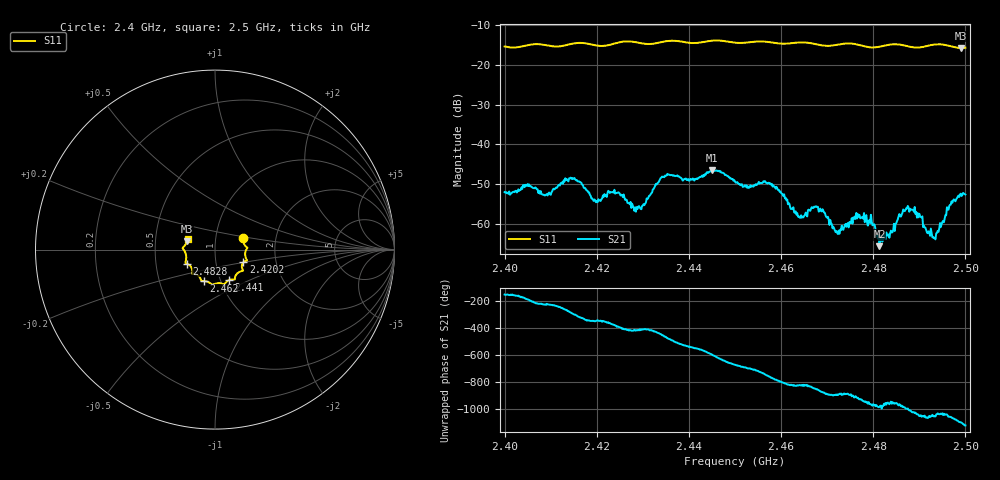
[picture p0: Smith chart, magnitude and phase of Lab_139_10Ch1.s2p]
# Hz S RI R 50
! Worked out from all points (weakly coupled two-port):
!   601 points, 2.4 GHz to 2.5 GHz, reference 50 ohm
!   highest |S21| = -46.47 dB at 2.445 GHz (marker M1); lowest = -65.5 dB at 2.4813 GHz (marker M2)
!   lowest |S11| = -15.8 dB at 2.499 GHz (marker M3), VSWR 1.39, Z = 36.4 + j3.47 ohm
!   |S11| at or under -10 dB: start of sweep to end of sweep
!   S12 and S22 are empty: the file has one direction only
!   S11 on the Smith chart (normalised r, x): 2.4 GHz: 1.36, +0.18; 2.4202 GHz: 1.36, -0.20; 2.441 GHz: 1.10, -0.39; 2.462 GHz: 0.84, -0.30; 2.4828 GHz: 0.72, -0.12; 2.5 GHz: 0.73, +0.09
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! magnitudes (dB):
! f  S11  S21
! 2.4 GHz  -15.4  -52.0
! 2.4167 GHz  -14.5  -49.7
! 2.4202 GHz  -15.2  -54.5
! 2.4243 GHz  -14.5  -52.2
! 2.429 GHz  -14.5  -55.6
! 2.4333 GHz  -14.5  -49.6
! 2.441 GHz  -14.6  -48.7
! 2.445 GHz  -14.0  -46.5
! 2.45 GHz  -14.5  -49.3
! 2.4575 GHz  -14.3  -49.9
! 2.462 GHz  -14.6  -55.9
! 2.4643 GHz  -14.4  -57.8
! 2.4667 GHz  -14.6  -55.7
! 2.4722 GHz  -15.0  -62.2
! 2.478 GHz  -15.3  -57.2
! 2.4813 GHz  -15.5  -65.5
! 2.4828 GHz  -15.1  -62.1
! 2.4833 GHz  -15.0  -62.6
! 2.4877 GHz  -15.4  -55.9
! 2.4933 GHz  -14.9  -63.4
! 2.499 GHz  -15.8  -52.4
! 2.5 GHz  -15.7  -52.6
